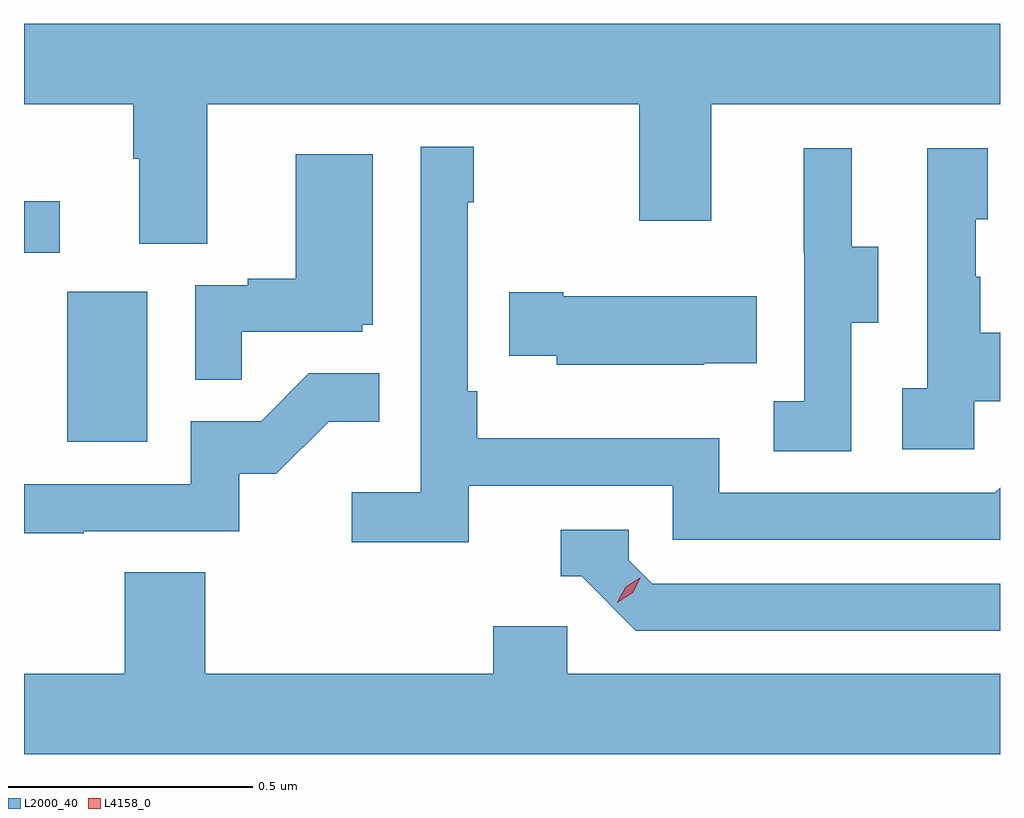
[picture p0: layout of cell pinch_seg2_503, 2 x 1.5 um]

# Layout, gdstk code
import gdstk
lib = gdstk.Library(unit=1e-6, precision=1e-09)
def R(c, l, rs):  # rectangles x0, y0, x1, y1
    for r in rs: c.add(gdstk.rectangle(r[:2], r[2:], *l))
def P(c, l, *ps):  # polygons
    for p in ps: c.add(gdstk.Polygon(p, *l))
L2000_40 = (2000, 40)
L4158_0 = (4158, 0)

pinch_seg2_503 = lib.new_cell('pinch_seg2_503')
R(pinch_seg2_503, L2000_40, [(970.736,600.324,970.9,600.631), (970.647,600.711,970.72,600.817)])
P(pinch_seg2_503, L2000_40, [(971.023,601.016),(971.908,601.016),(971.908,600.777),(972.055,600.777),(972.055,601.016),(972.647,601.016),(972.647,601.18),(970.647,601.18),(970.647,601.016),(970.871,601.016),(970.871,600.904),(970.883,600.904),(970.883,600.73),(971.023,600.73)],
  [(971.558,600.234),(971.976,600.234),(971.976,600.123),(972.647,600.123),(972.647,600.23),(972.636,600.219),(972.072,600.219),(972.072,600.331),(971.576,600.331),(971.576,600.427),(971.556,600.427),(971.556,600.815),(971.569,600.815),(971.569,600.928),(971.46,600.928),(971.46,600.22),(971.319,600.22),(971.319,600.118),(971.558,600.118)],
  [(972.594,600.407),(972.647,600.407),(972.647,600.547),(972.607,600.547),(972.607,600.662),(972.597,600.662),(972.597,600.78),(972.622,600.78),(972.622,600.925),(972.498,600.925),(972.498,600.434),(972.447,600.434),(972.447,600.309),(972.594,600.309)],
  [(972.342,600.568),(972.397,600.568),(972.397,600.723),(972.343,600.723),(972.343,600.925),(972.245,600.925),(972.245,600.711),(972.246,600.711),(972.246,600.407),(972.183,600.407),(972.183,600.304),(972.342,600.304)],
  [(971.093,600.549),(971.34,600.549),(971.34,600.564),(971.362,600.564),(971.362,600.913),(971.204,600.913),(971.204,600.658),(971.105,600.658),(971.105,600.645),(970.998,600.645),(970.998,600.451),(971.093,600.451)],
  [(972.041,600.485),(972.149,600.485),(972.149,600.622),(971.752,600.622),(971.752,600.63),(971.641,600.63),(971.641,600.5),(971.739,600.5),(971.739,600.482),(972.041,600.482)],
  [(970.769,600.141),(971.088,600.141),(971.088,600.258),(971.164,600.258),(971.271,600.365),(971.375,600.365),(971.375,600.464),(971.231,600.464),(971.133,600.366),(970.989,600.366),(970.989,600.237),(970.647,600.237),(970.647,600.136),(970.769,600.136)],
  [(972.647,600.033),(971.934,600.033),(971.886,600.081),(971.886,600.144),(971.747,600.144),(971.747,600.048),(971.79,600.048),(971.901,599.937),(972.647,599.937)],
  [(972.647,599.848),(971.76,599.848),(971.76,599.946),(971.609,599.946),(971.609,599.848),(971.018,599.848),(971.018,600.056),(970.853,600.056),(970.853,599.848),(970.647,599.848),(970.647,599.684),(972.647,599.684)])
P(pinch_seg2_503, L4158_0, [(971.863,599.994),(971.863,599.995),(971.88,600.027),(971.911,600.046),(971.911,600.046),(971.911,600.046),(971.894,600.014),(971.863,599.994)])

lib.write_gds('pinch_seg2_503.gds')
